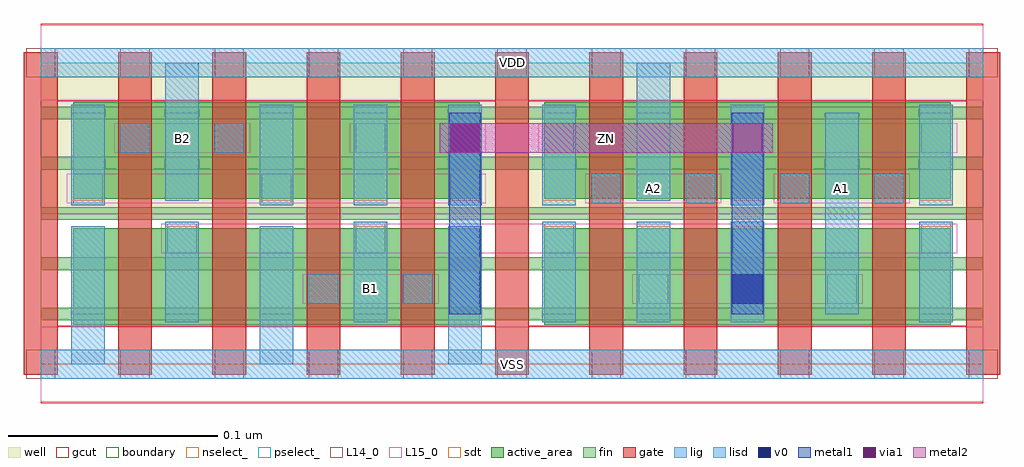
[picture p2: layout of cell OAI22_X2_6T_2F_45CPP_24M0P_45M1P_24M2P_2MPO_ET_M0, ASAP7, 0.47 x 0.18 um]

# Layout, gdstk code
import gdstk
lib = gdstk.Library(unit=1e-6, precision=2.5e-10)
def R(c, l, rs):  # rectangles x0, y0, x1, y1
    for r in rs: c.add(gdstk.rectangle(r[:2], r[2:], *l))
def A(c, l, x, y, w, h, nx, ny, dx, dy):  # array of equal rectangles
    R(c, l, [(x+i*dx, y+j*dy, x+i*dx+w, y+j*dy+h) for i in range(nx) for j in range(ny)])
well = (1, 0)
fin = (2, 0)
gate = (7, 0)
gcut = (10, 0)
active_area = (11, 0)
nselect_ = (12, 0)
pselect_ = (13, 0)
L14_0 = (14, 0)
L15_0 = (15, 0)
lig = (16, 0)
lisd = (17, 0)
v0 = (18, 0)
metal1 = (19, 0)
metal2 = (20, 0)
via1 = (21, 0)
sdt = (88, 0)
boundary = (100, 0)

oai22_x2_6t_2f_45cpp_24m = lib.new_cell('OAI22_X2_6T_2F_45CPP_24M0P_45M1P_24M2P_2MPO_ET_M0')
R(oai22_x2_6t_2f_45cpp_24m, well, [(0,0.072,0.45,0.144)])
A(oai22_x2_6t_2f_45cpp_24m, fin, 0, 0.021, 0.45, 0.006, 1, 5, 0, 0.024)
A(oai22_x2_6t_2f_45cpp_24m, gate, -0.008, -0.005, 0.016, 0.154, 11, 1, 0.045, 0)
A(oai22_x2_6t_2f_45cpp_24m, gcut, -0.008, -0.005, 0.016, 0.154, 3, 1, 0.225, 0)
R(oai22_x2_6t_2f_45cpp_24m, gcut, [(0,-0.0185,0.45,0.0185), (0,0.1255,0.45,0.1625)])
A(oai22_x2_6t_2f_45cpp_24m, active_area, 0.0155, 0.019, 0.059, 0.046, 4, 2, 0.045, 0.06)
A(oai22_x2_6t_2f_45cpp_24m, active_area, 0.2405, 0.019, 0.059, 0.046, 4, 2, 0.045, 0.06)
R(oai22_x2_6t_2f_45cpp_24m, nselect_, [(0,0,0.45,0.072)])
R(oai22_x2_6t_2f_45cpp_24m, pselect_, [(0,0.072,0.45,0.144)])
A(oai22_x2_6t_2f_45cpp_24m, L14_0, -0.007, -0.007, 0.014, 0.014, 11, 2, 0.045, 0.144)
A(oai22_x2_6t_2f_45cpp_24m, L14_0, 0.0605, 0.053, 0.014, 0.014, 5, 1, 0.09, 0)
A(oai22_x2_6t_2f_45cpp_24m, L14_0, 0.0155, 0.077, 0.014, 0.014, 3, 1, 0.09, 0)
A(oai22_x2_6t_2f_45cpp_24m, L14_0, 0.263, 0.077, 0.014, 0.014, 4, 1, 0.045, 0)
A(oai22_x2_6t_2f_45cpp_24m, L14_0, 0.1505, 0.101, 0.014, 0.014, 4, 1, 0.09, 0)
R(oai22_x2_6t_2f_45cpp_24m, L14_0, [(0.128,0.029,0.142,0.043), (0.173,0.029,0.187,0.043), (0.2855,0.029,0.2995,0.043), (0.3755,0.029,0.3895,0.043), (0.038,0.101,0.052,0.115), (0.083,0.101,0.097,0.115)])
R(oai22_x2_6t_2f_45cpp_24m, L15_0, [(0,-0.018,0.45,0.018), (0.125,0.029,0.19,0.043), (0.2825,0.029,0.3925,0.043), (0.0575,0.053,0.4375,0.067), (0.0125,0.077,0.2125,0.091), (0.26,0.077,0.325,0.091), (0.35,0.077,0.415,0.091), (0.035,0.101,0.1,0.115), (0.1475,0.101,0.2125,0.115), (0.2375,0.101,0.4375,0.115), (0,0.126,0.45,0.162)])
A(oai22_x2_6t_2f_45cpp_24m, lig, 0.263, 0.077, 0.014, 0.014, 4, 1, 0.045, 0)
R(oai22_x2_6t_2f_45cpp_24m, lig, [(0,-0.007,0.45,0.007), (0.128,0.029,0.142,0.043), (0.173,0.029,0.187,0.043), (0.038,0.101,0.052,0.115), (0.083,0.101,0.097,0.115), (0,0.137,0.45,0.151)])
A(oai22_x2_6t_2f_45cpp_24m, lisd, 0.0145, 0, 0.016, 0.066, 3, 1, 0.09, 0)
A(oai22_x2_6t_2f_45cpp_24m, lisd, 0.0595, 0.02, 0.016, 0.048, 3, 1, 0.09, 0)
A(oai22_x2_6t_2f_45cpp_24m, lisd, 0.1045, 0.076, 0.016, 0.048, 4, 1, 0.045, 0)
R(oai22_x2_6t_2f_45cpp_24m, lisd, [(0.2845,0.02,0.3005,0.068), (0.3295,0.02,0.3455,0.068), (0.4195,0.02,0.4355,0.068), (0.3745,0.024,0.3905,0.12), (0.0145,0.076,0.0305,0.124), (0.3295,0.076,0.3455,0.124), (0.4195,0.076,0.4355,0.124), (0.0595,0.078,0.0755,0.144), (0.2845,0.078,0.3005,0.144)])
R(oai22_x2_6t_2f_45cpp_24m, v0, [(0.3305,0.029,0.3445,0.043), (0.1955,0.101,0.2095,0.115)])
R(oai22_x2_6t_2f_45cpp_24m, metal1, [(0.195,0.024,0.21,0.12), (0.33,0.024,0.345,0.12)])
R(oai22_x2_6t_2f_45cpp_24m, metal2, [(0.1905,0.101,0.3495,0.115)])
R(oai22_x2_6t_2f_45cpp_24m, via1, [(0.1955,0.101,0.2095,0.115), (0.3305,0.101,0.3445,0.115)])
A(oai22_x2_6t_2f_45cpp_24m, sdt, 0.0145, 0.024, 0.016, 0.042, 8, 2, 0.045, 0.054)
R(oai22_x2_6t_2f_45cpp_24m, sdt, [(0.3745,0.024,0.3905,0.12), (0.4195,0.024,0.4355,0.066), (0.4195,0.078,0.4355,0.12)])
R(oai22_x2_6t_2f_45cpp_24m, boundary, [(0,0,0.45,0.144)])
oai22_x2_6t_2f_45cpp_24m.add(gdstk.Label('B2', (0.0675,0.108), layer=15, texttype=251))
oai22_x2_6t_2f_45cpp_24m.add(gdstk.Label('A2', (0.2925,0.084), layer=15, texttype=251))
oai22_x2_6t_2f_45cpp_24m.add(gdstk.Label('A1', (0.3825,0.084), layer=15, texttype=251))
oai22_x2_6t_2f_45cpp_24m.add(gdstk.Label('B1', (0.1575,0.036), layer=15, texttype=251))
oai22_x2_6t_2f_45cpp_24m.add(gdstk.Label('VDD', (0.225,0.144), layer=15, texttype=251))
oai22_x2_6t_2f_45cpp_24m.add(gdstk.Label('VSS', (0.225,0), layer=15, texttype=251))
oai22_x2_6t_2f_45cpp_24m.add(gdstk.Label('VDD', (0.225,0.144), layer=1, texttype=251))
oai22_x2_6t_2f_45cpp_24m.add(gdstk.Label('VSS', (0.225,0), layer=3, texttype=251))
oai22_x2_6t_2f_45cpp_24m.add(gdstk.Label('ZN', (0.27,0.108), layer=20, texttype=251))

lib.write_gds('OAI22_X2_6T_2F_45CPP_24M0P_45M1P_24M2P_2MPO_ET_M0.gds')
